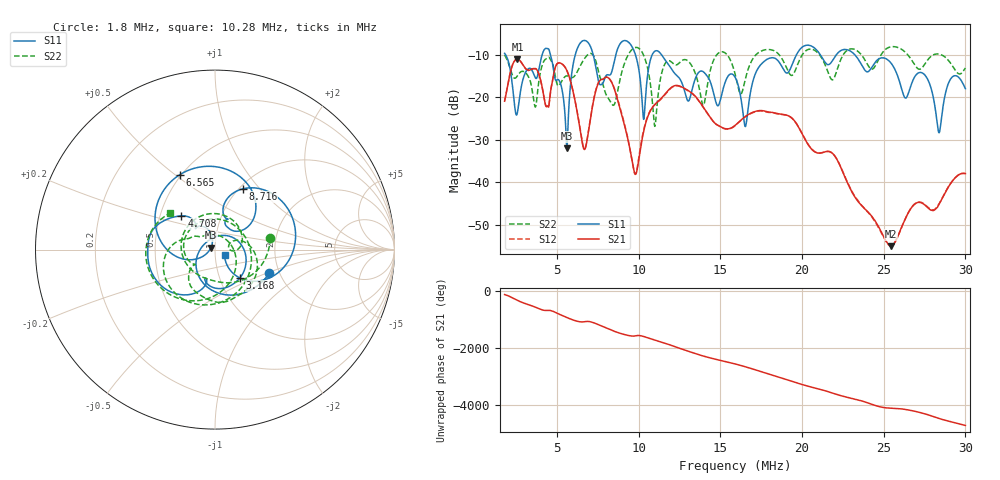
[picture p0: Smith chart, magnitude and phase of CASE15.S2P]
!Agilent Technologies,E5061B,MY49101568,A.02.00
!Date: Wed Mar 01 15:49:37 2023
!Data & Calibration Information:
!Freq	S11:SOLT2(OFF)	S21:SOLT2(OFF)	S12:SOLT2(OFF)	S22:SOLT2(OFF)
# Hz S dB R 50
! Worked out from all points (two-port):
!   1155 points, 1.8 MHz to 30 MHz, reference 50 ohm
!   highest |S21| = -10.97 dB at 2.582 MHz (marker M1); lowest = -55.0 dB at 25.45 MHz (marker M2)
!   |S21| within 3 dB of the highest: 2.16 MHz to 3.841 MHz (1.681 MHz wide, 56 % of centre); 4.83 MHz to 5.644 MHz (813.5 kHz wide, 15.5 % of centre)
!   lowest |S11| = -32.0 dB at 5.612 MHz (marker M3), VSWR 1.05, Z = 47.8 + j1.05 ohm
!   |S11| at or under -10 dB: 1.863 MHz to 4.094 MHz (2.231 MHz wide, 74.9 % of centre); 11.41 MHz to 19.66 MHz (8.247 MHz wide, 53.1 % of centre); 23.24 MHz to end of sweep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
!   |S22| runs from -26.8 to -8.0 dB; largest |S21 - S12| = 0.0035
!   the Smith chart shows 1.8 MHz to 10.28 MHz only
!   S11 on the Smith chart (normalised r, x): 1.8 MHz: 1.77, -0.52; 3.168 MHz: 1.25, -0.41; 4.708 MHz: 0.64, +0.26; 6.565 MHz: 0.49, +0.52; 8.716 MHz: 1.04, +0.82; 10.28 MHz: 1.11, -0.06
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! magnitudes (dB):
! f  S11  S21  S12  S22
! 1.8 MHz  -9.6  -20.9  -20.9  -10.0
! 2.582 MHz  -23.6  -11.0  -10.9  -14.9
! 3.168 MHz  -13.6  -13.4  -13.5  -14.6
! 4.708 MHz  -11.5  -16.6  -16.6  -11.7
! 5.612 MHz  -32.0  -13.7  -13.7  -14.9
! 6.516 MHz  -6.9  -29.9  -29.6  -12.0
! 6.565 MHz  -6.7  -30.9  -30.6  -11.6
! 7.616 MHz  -16.9  -16.1  -16.0  -14.9
! 8.716 MHz  -8.6  -20.6  -20.3  -18.5
! 9.766 MHz  -9.5  -37.8  -38.0  -8.3
! 10.28 MHz  -24.4  -28.5  -28.2  -9.8
! 11.21 MHz  -9.2  -20.9  -21.0  -18.9
! 13.02 MHz  -20.8  -18.3  -18.4  -11.4
! 13.95 MHz  -13.9  -22.2  -22.3  -21.9
! 15.9 MHz  -15.2  -26.6  -26.7  -14.4
! 16.54 MHz  -26.9  -24.5  -24.5  -15.7
! 17.49 MHz  -12.2  -23.1  -23.2  -9.1
! 20.62 MHz  -8.0  -32.3  -32.2  -8.7
! 25.31 MHz  -11.3  -54.7  -54.7  -8.2
! 25.45 MHz  -12.0  -55.0  -54.9  -8.1
! 28.39 MHz  -28.3  -45.1  -45.0  -9.8
! 30 MHz  -17.9  -37.9  -37.9  -13.1
